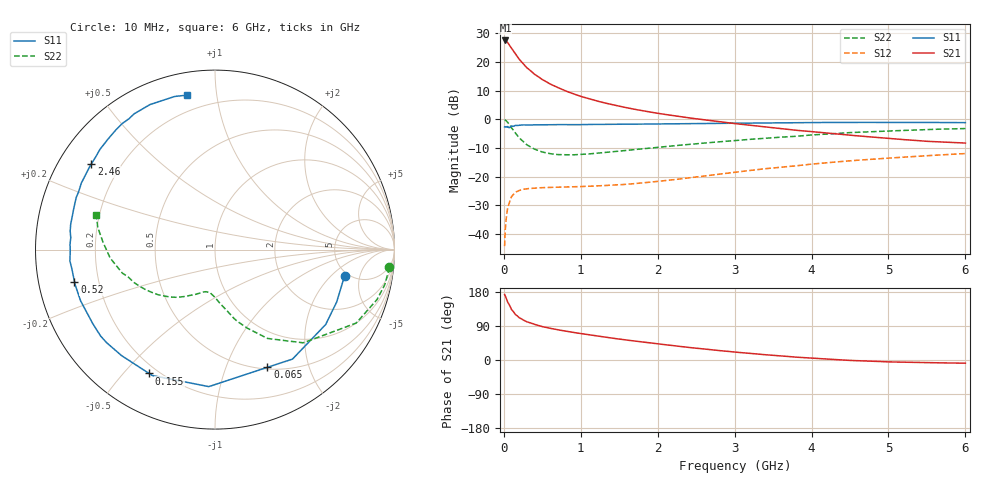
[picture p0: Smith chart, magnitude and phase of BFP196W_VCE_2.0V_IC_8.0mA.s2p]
! (c) 2016  Infineon Technologies AG, Munich
! Infineon Technologies  Discrete & RF Semiconductors
! BFP196W
! VCE = 2.0 V,  IC = 8.0mA
! Common Emitter S-Parameters:  Jan 2016
# GHz  S  MA  R  50
!  f  S11  S21  S12  S22
! GHz  MAG  ANG  MAG  ANG  MAG  ANG  MAG  ANG
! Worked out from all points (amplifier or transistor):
!   210 points, 10 MHz to 6 GHz, reference 50 ohm
!   highest |S21| = 27.5 dB at 20 MHz (marker M1)
!   |S21| within 3 dB of that: start of sweep to 108.1 MHz
!   unconditionally stable (mu >= 1): 1.248 GHz to 3.344 GHz
!   at 185 MHz: K = 0.19, MSG = 23.3 dB, |S12| = -25.0 dB
!   at 1.52 GHz: K = 1.14, MAG = 11.4 dB, |S12| = -22.8 dB
!   at 6 GHz: K = 0.96, MSG = 1.8 dB, |S12| = -12.0 dB
!   S11 on the Smith chart (normalised r, x): 10 MHz: 4.62, -2.97; 65 MHz: 0.52, -1.41; 155 MHz: 0.17, -0.59; 520 MHz: 0.11, -0.11; 2.46 GHz: 0.10, +0.31; 6 GHz: 0.11, +0.83
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0.01  0.7367 -11.5  23.57 172.8  0.0061 83.2  0.9772 -5.8
0.02  0.7381 -23.3  23.79 168.6  0.0125 79.3  0.9662 -11.6
0.03  0.7446 -34.1  23.27 163.3  0.0179 74.9  0.9449 -17.1
0.05  0.7473 -54.7  21.9 152.8  0.0284 64.6  0.8867 -27.5
0.065  0.7179 -66.0  20.34 147.8  0.0329 57.6  0.8263 -32.4
0.1  0.7641 -92.6  17.47 133.2  0.0447 47.3  0.7149 -46.6
0.15  0.7838 -116.5  13.91 120.1  0.0532 36.8  0.575 -59.4
0.155  0.7818 -118.0  13.62 119.4  0.0536 36.1  0.5644 -60.1
0.2  0.7873 -131.4  11.17 111.6  0.0573 30.7  0.4738 -67.6
0.24  0.7961 -139.4  9.701 107.0  0.0594 27.4  0.4227 -72.3
0.3  0.7962 -148.8  7.92 100.8  0.0614 23.9  0.358 -77.8
0.4  0.8015 -159.2  6.098 93.6  0.063 21.1  0.301 -84.7
0.52  0.8031 -167.1  4.783 87.3  0.0642 20.3  0.2651 -90.2
0.7  0.8109 -175.6  3.59 79.8  0.0652 20.7  0.2421 -96.4
1.02  0.8076 174.8  2.469 69.1  0.0671 23.9  0.2444 -105.0
1.42  0.8179 165.3  1.788 57.4  0.0711 30.2  0.272 -113.6
2.02  0.8318 153.2  1.261 42.2  0.083 39.9  0.3257 -125.8
2.46  0.838 145.3  1.037 32.0  0.0969 44.7  0.3702 -134.9
3.1  0.8565 134.4  0.815 19.3  0.1235 47.0  0.4362 -148.1
4.1  0.8805 119.5  0.593 3.8  0.1698 43.9  0.5422 -167.9
5.1  0.8813 108.1  0.452 -5.4  0.2144 36.8  0.6323 174.8
6  0.8746 100.3  0.385 -8.4  0.2524 29.9  0.6899 163.7
